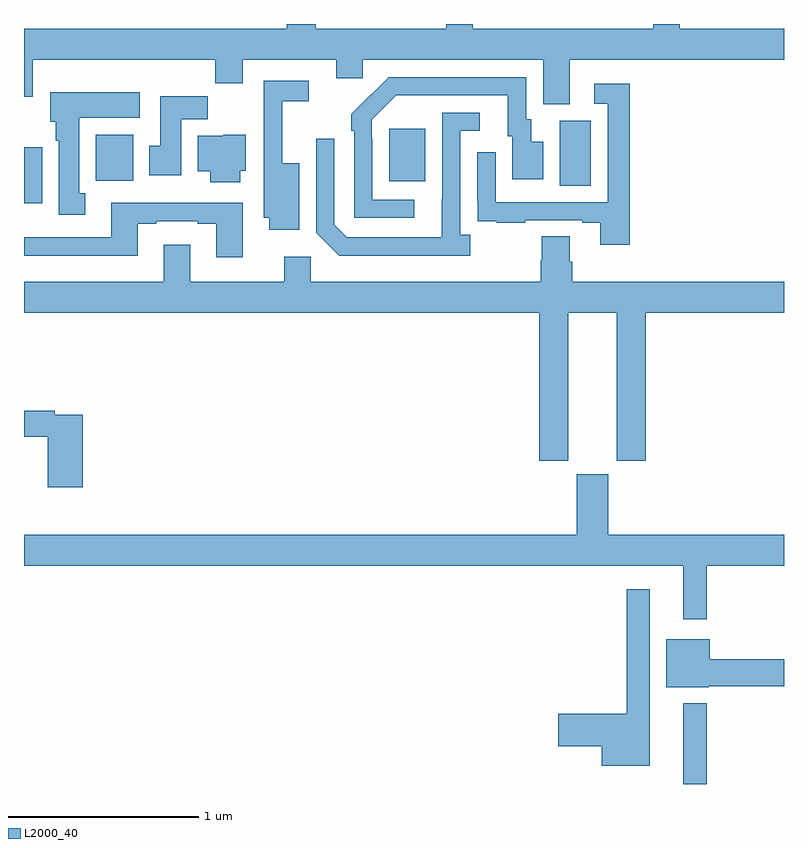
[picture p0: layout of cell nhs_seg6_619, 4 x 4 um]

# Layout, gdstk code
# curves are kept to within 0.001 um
import gdstk
lib = gdstk.Library(unit=1e-6, precision=1e-09)
def R(c, l, rs):  # rectangles x0, y0, x1, y1
    for r in rs: c.add(gdstk.rectangle(r[:2], r[2:], *l))
def P(c, l, *ps):  # polygons
    for p in ps: c.add(gdstk.Polygon(p, *l))
L2000_40 = (2000, 40)

nhs_seg6_619 = lib.new_cell('nhs_seg6_619')
R(nhs_seg6_619, L2000_40, [(152.471,967.5,152.593,967.924), (149,970.556,149.095,970.852), (151.82,970.648,151.984,970.992), (150.923,970.673,151.111,970.948), (149.378,970.676,149.575,970.918)])
P(nhs_seg6_619, L2000_40, [(151.873,971.312),(153,971.312),(153,971.476),(152.452,971.476),(152.452,971.5),(152.313,971.5),(152.313,971.476),(151.363,971.476),(151.363,971.5),(151.223,971.5),(151.223,971.476),(150.536,971.476),(150.536,971.5),(150.384,971.5),(150.384,971.476),(149,971.476),(149,971.118),(149.047,971.118),(149.047,971.312),(150.007,971.312),(150.007,971.188),(150.151,971.188),(150.151,971.312),(150.644,971.312),(150.644,971.214),(150.783,971.214),(150.783,971.312),(151.733,971.312),(151.733,971.077),(151.873,971.077)],
  [(151.054,970.575),(150.834,970.575),(150.834,970.895),(150.831,970.895),(150.831,970.995),(150.96,971.124),(151.547,971.124),(151.547,970.908),(151.571,970.908),(151.571,970.683),(151.732,970.683),(151.732,970.879),(151.669,970.879),(151.669,970.998),(151.644,970.998),(151.644,971.22),(150.92,971.22),(150.723,971.025),(150.723,970.937),(150.738,970.937),(150.738,970.479),(151.054,970.479)],
  [(150.448,970.768),(150.359,970.768),(150.359,971.094),(150.499,971.094),(150.499,971.202),(150.261,971.202),(150.261,970.481),(150.29,970.481),(150.29,970.416),(150.448,970.416)],
  [(152.189,971.185),(152.001,971.185),(152.001,971.079),(152.073,971.079),(152.073,970.563),(151.482,970.563),(151.482,970.825),(151.386,970.825),(151.386,970.57),(151.387,970.57),(151.387,970.461),(151.489,970.461),(151.489,970.455),(151.637,970.455),(151.637,970.467),(151.937,970.467),(151.937,970.455),(152.033,970.455),(152.033,970.338),(152.189,970.338)],
  [(149.323,970.61),(149.29,970.61),(149.29,971.006),(149.608,971.006),(149.608,971.14),(149.138,971.14),(149.138,970.986),(149.168,970.986),(149.168,970.886),(149.183,970.886),(149.183,970.497),(149.323,970.497)],
  [(149.827,971),(149.966,971),(149.966,971.119),(149.717,971.119),(149.717,970.86),(149.66,970.86),(149.66,970.704),(149.827,970.704)],
  [(151.348,970.39),(151.296,970.39),(151.296,970.938),(151.399,970.938),(151.399,971.034),(151.2,971.034),(151.199,970.377),(150.699,970.377),(150.633,970.443),(150.633,970.897),(150.537,970.897),(150.537,970.401),(150.658,970.28),(151.348,970.28)],
  [(150.139,970.728),(150.166,970.728),(150.166,970.918),(150.048,970.918),(150.048,970.912),(149.915,970.912),(149.915,970.724),(149.981,970.724),(149.981,970.667),(150.139,970.667)],
  [(150.151,970.558),(149.459,970.558),(149.459,970.377),(149,970.377),(149,970.28),(149.599,970.28),(149.599,970.449),(149.695,970.449),(149.695,970.461),(149.915,970.461),(149.915,970.449),(150.011,970.449),(150.011,970.272),(150.151,970.272)],
  [(151.864,969.98),(152.12,969.98),(152.12,969.201),(152.273,969.201),(152.273,969.98),(153,969.98),(153,970.144),(151.886,970.144),(151.886,970.25),(151.873,970.25),(151.873,970.382),(151.726,970.382),(151.726,970.257),(151.721,970.257),(151.721,970.144),(150.51,970.144),(150.51,970.276),(150.371,970.276),(150.371,970.144),(149.875,970.144),(149.875,970.339),(149.735,970.339),(149.735,970.144),(149,970.144),(149,969.98),(151.712,969.98),(151.712,969.201),(151.864,969.201)],
  [(149.309,969.444),(149.162,969.444),(149.162,969.464),(149,969.464),(149,969.328),(149.126,969.328),(149.126,969.063),(149.309,969.063)],
  [(152.593,968.648),(153,968.648),(153,968.812),(152.074,968.812),(152.074,969.129),(151.91,969.129),(151.91,968.812),(149,968.812),(149,968.648),(152.471,968.648),(152.471,968.367),(152.593,968.367)],
  [(152.293,968.524),(152.172,968.524),(152.172,967.871),(151.812,967.871),(151.812,967.7),(152.042,967.7),(152.042,967.595),(152.293,967.595)],
  [(152.604,968.015),(153,968.015),(153,968.157),(152.608,968.157),(152.608,968.263),(152.381,968.263),(152.381,968.009),(152.604,968.009)])

lib.write_gds('nhs_seg6_619.gds')
